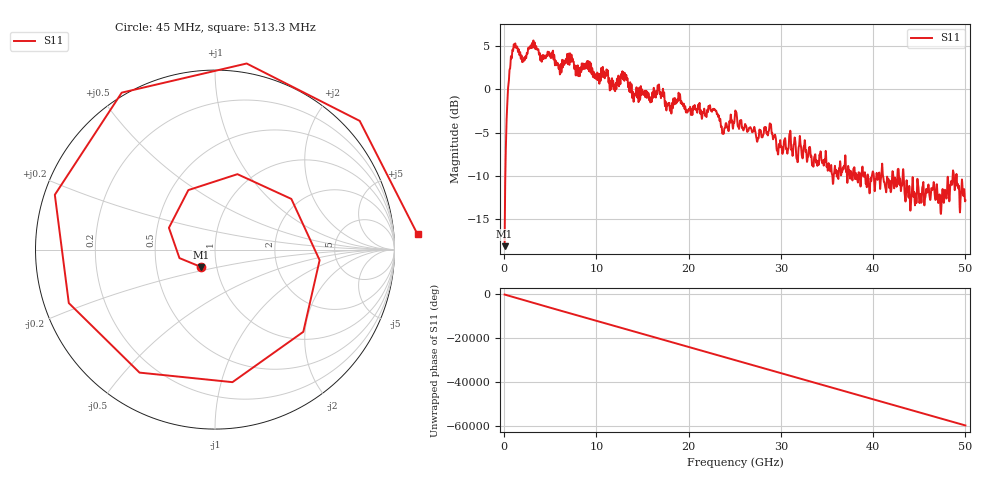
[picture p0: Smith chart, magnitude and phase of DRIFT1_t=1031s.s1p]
!Created with skrf (http://scikit-rf.org).
# Hz S RI R 50.0
!freq ReS11 ImS11
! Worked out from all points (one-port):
!   1601 points, 45 MHz to 50 GHz, reference 50 ohm
!   lowest |S11| = -18.1 dB at 45 MHz (marker M1), VSWR 1.28, Z = 42.1 - j8.29 ohm
!   |S11| at or under -10 dB: 41.07 GHz to 42.06 GHz (991.6 MHz wide, 2.39 % of centre); 43.31 GHz to 48.61 GHz (5.307 GHz wide, 11.5 % of centre); 49.05 GHz to end of sweep (the widest 3 of 23)
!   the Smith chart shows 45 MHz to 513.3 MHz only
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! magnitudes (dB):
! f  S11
! 45 MHz  -18.1
! 450.9 MHz  0.4
! 981.7 MHz  4.6
! 2.168 GHz  3.7
! 3.23 GHz  4.8
! 6.289 GHz  3.4
! 7.195 GHz  3.2
! 7.975 GHz  2.8
! 12.53 GHz  1.5
! 13.03 GHz  1.0
! 14.09 GHz  -0.8
! 18.78 GHz  -1.1
! 22.81 GHz  -2.4
! 23.74 GHz  -5.0
! 25.02 GHz  -2.7
! 27.43 GHz  -6.1
! 28.86 GHz  -4.1
! 29.77 GHz  -6.4
! 31.27 GHz  -7.7
! 35.54 GHz  -9.8
! 37.51 GHz  -10.3
! 39.42 GHz  -9.8
! 42.69 GHz  -9.2
! 43.76 GHz  -11.4
! 46.69 GHz  -12.4
! 47.22 GHz  -12.2
! 48.84 GHz  -11.7
! 50 GHz  -12.8
